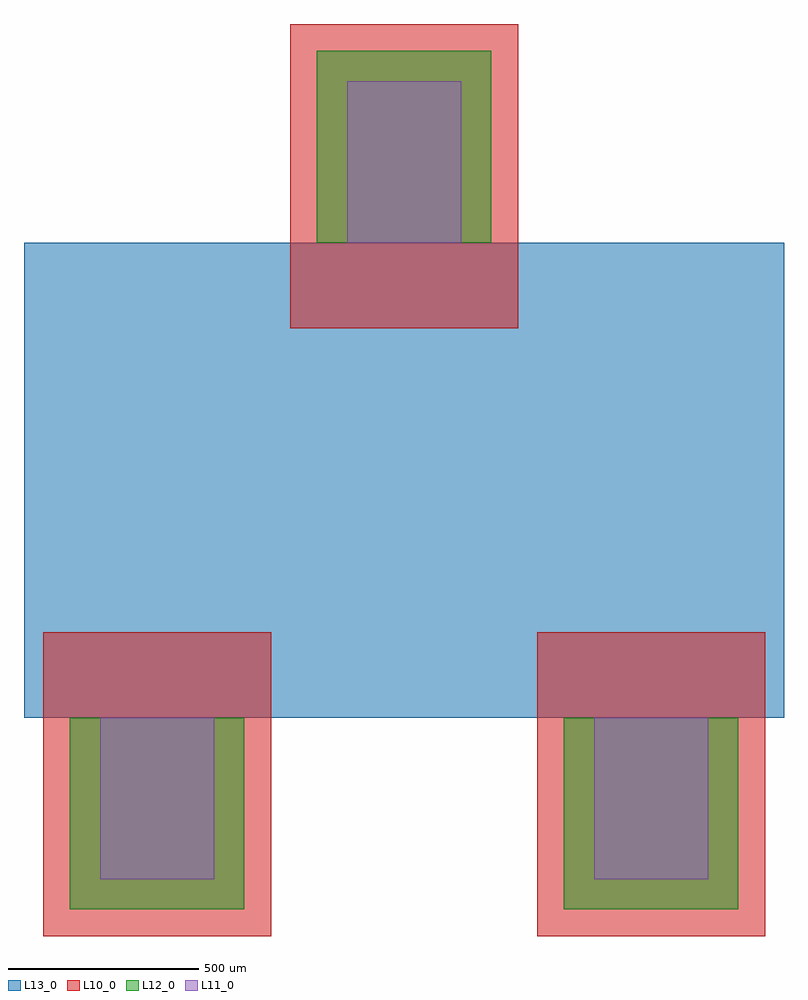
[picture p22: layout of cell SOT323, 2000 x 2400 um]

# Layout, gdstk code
import gdstk
lib = gdstk.Library(unit=1e-6, precision=1e-09)
def R(c, l, rs):  # rectangles x0, y0, x1, y1
    for r in rs: c.add(gdstk.rectangle(r[:2], r[2:], *l))
L10_0 = (10, 0)
L11_0 = (11, 0)
L12_0 = (12, 0)
L13_0 = (13, 0)

sot323 = lib.new_cell('SOT323')
R(sot323, L10_0, [(-950,-1200,-350,-400), (350,-1200,950,-400), (-300,400,300,1200)])
R(sot323, L11_0, [(-800,-1050,-500,-625), (500,-1050,800,-625), (-150,625,150,1050)])
R(sot323, L12_0, [(-880,-1130,-420,-625), (420,-1130,880,-625), (-230,625,230,1130)])
R(sot323, L13_0, [(-1000,-625,1000,625)])

lib.write_gds('SOT323.gds')
